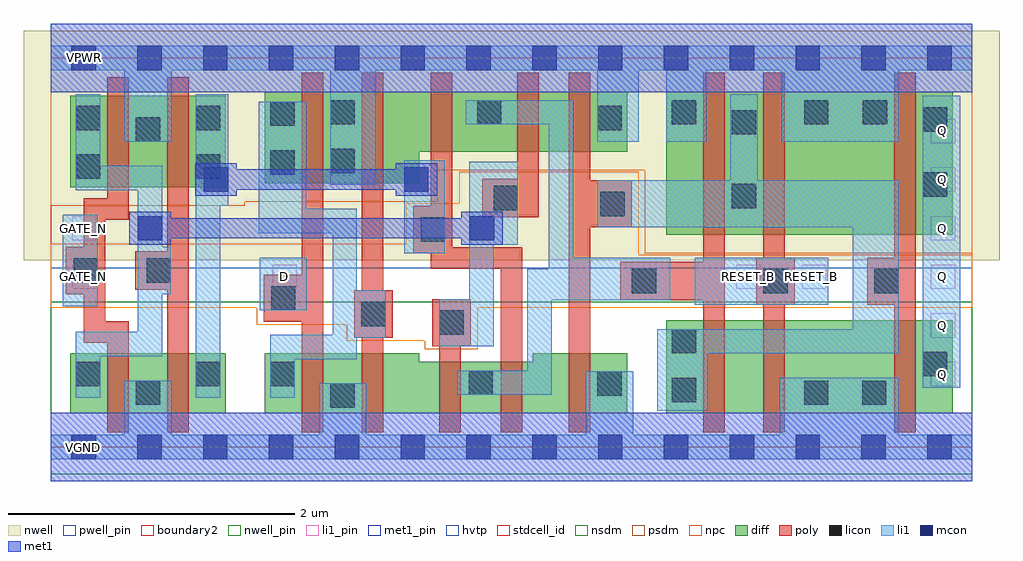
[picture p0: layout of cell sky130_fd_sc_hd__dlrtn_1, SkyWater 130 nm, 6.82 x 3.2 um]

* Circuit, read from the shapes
.subckt sky130_fd_sc_hd__dlrtn_1 D GATE_N Q RESET_B VGND VNB VPB VPWR
XM1 VGND GATE_N n1 VNB sky130_fd_pr__nfet_01v8 w=0.42 l=0.15
XM2 n2 n1 VGND VNB sky130_fd_pr__nfet_01v8 w=0.42 l=0.15
XM3 VGND D n3 VNB sky130_fd_pr__nfet_01v8 w=0.42 l=0.15
XM4 n4 n3 VGND VNB sky130_fd_pr__nfet_01v8 w=0.42 l=0.15
XM5 n5 n1 n4 VNB sky130_fd_pr__nfet_01v8 w=0.36 l=0.15
XM6 n6 n2 n5 VNB sky130_fd_pr__nfet_01v8 w=0.36 l=0.15
XM7 VGND n7 n6 VNB sky130_fd_pr__nfet_01v8 w=0.42 l=0.15
XM8 n8 n5 n7 VNB sky130_fd_pr__nfet_01v8 w=0.65 l=0.15
XM9 VGND RESET_B n8 VNB sky130_fd_pr__nfet_01v8 w=0.65 l=0.15
XM10 Q n7 VGND VNB sky130_fd_pr__nfet_01v8 w=0.65 l=0.15
XM11 VPWR GATE_N n1 VPB sky130_fd_pr__pfet_01v8_hvt w=0.64 l=0.15
XM12 n2 n1 VPWR VPB sky130_fd_pr__pfet_01v8_hvt w=0.64 l=0.15
XM13 VPWR D n3 VPB sky130_fd_pr__pfet_01v8_hvt w=0.64 l=0.15
XM14 n9 n3 VPWR VPB sky130_fd_pr__pfet_01v8_hvt w=0.64 l=0.15
XM15 n5 n2 n9 VPB sky130_fd_pr__pfet_01v8_hvt w=0.42 l=0.15
XM16 n10 n1 n5 VPB sky130_fd_pr__pfet_01v8_hvt w=0.42 l=0.15
XM17 VPWR n7 n10 VPB sky130_fd_pr__pfet_01v8_hvt w=0.42 l=0.15
XM18 n7 n5 VPWR VPB sky130_fd_pr__pfet_01v8_hvt w=1 l=0.15
XM19 VPWR RESET_B n7 VPB sky130_fd_pr__pfet_01v8_hvt w=1 l=0.15
XM20 Q n7 VPWR VPB sky130_fd_pr__pfet_01v8_hvt w=1 l=0.15
.ends

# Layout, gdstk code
import gdstk
lib = gdstk.Library(unit=1e-6, precision=1e-09)
def R(c, l, rs):  # rectangles x0, y0, x1, y1
    for r in rs: c.add(gdstk.rectangle(r[:2], r[2:], *l))
def A(c, l, x, y, w, h, nx, ny, dx, dy):  # array of equal rectangles
    R(c, l, [(x+i*dx, y+j*dy, x+i*dx+w, y+j*dy+h) for i in range(nx) for j in range(ny)])
def P(c, l, *ps):  # polygons
    for p in ps: c.add(gdstk.Polygon(p, *l))
nwell_pin = (64, 16)
nwell = (64, 20)
diff = (65, 20)
poly = (66, 20)
licon = (66, 44)
li1_pin = (67, 16)
li1 = (67, 20)
mcon = (67, 44)
met1_pin = (68, 16)
met1 = (68, 20)
hvtp = (78, 44)
stdcell_id = (81, 4)
nsdm = (93, 44)
psdm = (94, 20)
npc = (95, 20)
pwell_pin = (122, 16)
boundary2 = (236, 0)

sky130_fd_sc_hd__dlrtn_1 = lib.new_cell('sky130_fd_sc_hd__dlrtn_1')
R(sky130_fd_sc_hd__dlrtn_1, nwell_pin, [(0.15,2.635,0.32,2.805), (0.15,2.635,0.32,2.805), (0.15,2.635,0.32,2.805)])
R(sky130_fd_sc_hd__dlrtn_1, nwell, [(-0.19,1.305,6.63,2.91)])
R(sky130_fd_sc_hd__dlrtn_1, diff, [(0.135,0.235,1.225,0.655), (4.3,0.235,6.305,0.885), (4.3,1.485,6.305,2.485), (0.135,1.815,1.225,2.455)])
P(sky130_fd_sc_hd__dlrtn_1, diff, [(4.03,0.655),(3.37,0.655),(3.37,0.595),(2.575,0.595),(2.575,0.655),(1.495,0.655),(1.495,0.235),(4.03,0.235)],
  [(4.03,2.485),(1.495,2.485),(1.495,1.845),(2.575,1.845),(2.575,2.065),(4.03,2.065)])
P(sky130_fd_sc_hd__dlrtn_1, poly, [(1.905,2.615),(1.755,2.615),(1.755,1.205),(1.49,1.205),(1.49,0.875),(1.755,0.875),(1.755,0.105),(1.905,0.105)],
  [(0.545,0.88),(0.38,0.88),(0.38,1.59),(0.545,1.59),(0.545,2.585),(0.395,2.585),(0.395,1.74),(0.23,1.74),(0.23,1.4),(0.105,1.4),(0.105,1.07),(0.23,1.07),(0.23,0.73),(0.395,0.73),(0.395,0.105),(0.545,0.105)],
  [(2.935,1.035),(2.665,1.035),(2.665,0.705),(2.715,0.705),(2.715,0.105),(2.865,0.105),(2.865,0.705),(2.935,0.705)],
  [(0.965,2.585),(0.815,2.585),(0.815,1.37),(0.59,1.37),(0.59,1.1),(0.815,1.1),(0.815,0.105),(0.965,0.105)],
  [(2.39,1.095),(2.325,1.095),(2.325,2.615),(2.175,2.615),(2.175,1.095),(2.12,1.095),(2.12,0.765),(2.175,0.765),(2.175,0.105),(2.325,0.105),(2.325,0.765),(2.39,0.765)],
  [(3.295,1.395),(2.805,1.395),(2.805,2.615),(2.655,2.615),(2.655,1.685),(2.535,1.685),(2.535,1.355),(2.655,1.355),(2.655,1.245),(3.145,1.245),(3.145,0.105),(3.295,0.105)],
  [(3.41,2.615),(3.26,2.615),(3.26,1.875),(3.015,1.875),(3.015,1.605),(3.41,1.605)],
  [(4.06,1.865),(3.77,1.865),(3.77,2.615),(3.62,2.615),(3.62,0.105),(3.77,0.105),(3.77,1.535),(4.06,1.535)],
  [(4.71,2.615),(4.56,2.615),(4.56,1.295),(3.98,1.295),(3.98,1.025),(4.56,1.025),(4.56,0.105),(4.71,0.105)],
  [(5.2,1.325),(5.13,1.325),(5.13,2.615),(4.98,2.615),(4.98,1.325),(4.93,1.325),(4.93,0.995),(4.98,0.995),(4.98,0.105),(5.13,0.105),(5.13,0.995),(5.2,0.995)],
  [(6.045,2.615),(5.895,2.615),(5.895,1.325),(5.705,1.325),(5.705,0.995),(5.895,0.995),(5.895,0.105),(6.045,0.105)])
R(sky130_fd_sc_hd__dlrtn_1, licon, [(1.955,0.275,2.125,0.445), (0.595,0.295,0.765,0.465), (5.265,0.295,5.435,0.465), (5.67,0.295,5.84,0.465), (4.34,0.315,4.51,0.485), (3.82,0.36,3.99,0.53), (2.92,0.365,3.09,0.535), (0.175,0.425,0.345,0.595), (1.015,0.425,1.185,0.595), (1.535,0.425,1.705,0.595), (6.095,0.495,6.265,0.665), (4.34,0.655,4.51,0.825), (2.715,0.785,2.885,0.955), (2.17,0.845,2.34,1.015), (1.54,0.955,1.71,1.125), (4.06,1.075,4.23,1.245), (4.98,1.075,5.15,1.245), (5.755,1.075,5.925,1.245), (0.16,1.15,0.33,1.32), (0.67,1.15,0.84,1.32), (2.585,1.435,2.755,1.605), (3.84,1.615,4.01,1.785), (3.095,1.655,3.265,1.825), (4.76,1.67,4.93,1.84), (6.095,1.75,6.265,1.92), (0.175,1.875,0.345,2.045), (1.015,1.875,1.185,2.045), (1.535,1.905,1.705,2.075), (1.955,1.915,2.125,2.085), (0.595,2.135,0.765,2.305), (4.76,2.185,4.93,2.355), (6.095,2.205,6.265,2.375), (0.175,2.215,0.345,2.385), (1.015,2.215,1.185,2.385), (3.82,2.215,3.99,2.385), (1.535,2.245,1.705,2.415), (1.955,2.255,2.125,2.425), (2.98,2.255,3.15,2.425), (4.34,2.255,4.51,2.425), (5.265,2.255,5.435,2.425), (5.675,2.255,5.845,2.425)])
A(sky130_fd_sc_hd__dlrtn_1, li1_pin, 6.15, 0.425, 0.17, 0.17, 1, 6, 0, 0.34)
R(sky130_fd_sc_hd__dlrtn_1, li1_pin, [(0.15,1.105,0.32,1.275), (1.55,1.105,1.72,1.275), (4.79,1.105,4.96,1.275), (5.25,1.105,5.42,1.275), (0.15,1.445,0.32,1.615)])
R(sky130_fd_sc_hd__dlrtn_1, li1, [(6.095,0.415,6.355,2.455), (1.46,0.955,1.79,1.325), (0.085,0.985,0.33,1.625), (4.5,0.995,5.435,1.325), (2.47,1.355,2.755,2.005)])
P(sky130_fd_sc_hd__dlrtn_1, li1, [(6.44,2.805),(0,2.805),(0,2.635),(0.515,2.635),(0.515,2.135),(0.845,2.135),(0.845,2.635),(1.955,2.635),(1.955,1.835),(2.27,1.835),(2.27,2.635),(3.82,2.635),(3.82,2.135),(4.11,2.135),(4.11,2.635),(4.3,2.635),(4.3,2.135),(4.58,2.135),(4.58,2.635),(5.11,2.635),(5.11,2.135),(5.925,2.135),(5.925,2.635),(6.44,2.635)],
  [(5.925,1.865),(4.94,1.865),(4.94,2.465),(4.75,2.465),(4.75,1.865),(3.82,1.865),(3.82,1.535),(5.605,1.535),(5.605,0.825),(4.24,0.825),(4.24,0.255),(4.59,0.255),(4.59,0.655),(5.925,0.655)],
  [(4.33,1.325),(3.65,1.325),(3.65,2.425),(2.9,2.425),(2.9,2.255),(3.48,2.255),(3.48,1.245),(3.33,1.245),(3.33,0.535),(2.84,0.535),(2.84,0.365),(3.5,0.365),(3.5,1.025),(4.33,1.025)],
  [(3.265,1.995),(2.925,1.995),(2.925,1.035),(2.715,1.035),(2.715,0.705),(3.095,0.705),(3.095,1.415),(3.265,1.415)],
  [(2.34,1.095),(2.14,1.095),(2.14,1.665),(1.785,1.665),(1.785,2.415),(1.455,2.415),(1.455,1.495),(1.97,1.495),(1.97,0.785),(1.535,0.785),(1.535,0.345),(1.705,0.345),(1.705,0.615),(2.14,0.615),(2.14,0.765),(2.34,0.765)],
  [(0.84,1.4),(0.78,1.4),(0.78,1.965),(0.345,1.965),(0.345,2.465),(0.175,2.465),(0.175,1.795),(0.61,1.795),(0.61,0.805),(0.175,0.805),(0.175,0.345),(0.345,0.345),(0.345,0.635),(0.78,0.635),(0.78,1.07),(0.84,1.07)],
  [(1.24,2.465),(1.015,2.465),(1.015,0.345),(1.185,0.345),(1.185,1.685),(1.24,1.685)],
  [(6.44,0.085),(5.925,0.085),(5.925,0.485),(5.095,0.485),(5.095,0.085),(4.07,0.085),(4.07,0.53),(3.74,0.53),(3.74,0.085),(2.205,0.085),(2.205,0.445),(1.875,0.445),(1.875,0.085),(0.845,0.085),(0.845,0.465),(0.515,0.465),(0.515,0.085),(0,0.085),(0,-0.085),(6.44,-0.085)])
A(sky130_fd_sc_hd__dlrtn_1, mcon, 0.145, -0.085, 0.17, 0.17, 14, 2, 0.46, 2.72)
R(sky130_fd_sc_hd__dlrtn_1, mcon, [(0.61,1.445,0.78,1.615), (2.93,1.445,3.1,1.615), (1.07,1.785,1.24,1.955), (2.47,1.785,2.64,1.955)])
R(sky130_fd_sc_hd__dlrtn_1, met1_pin, [(0.15,-0.085,0.32,0.085), (0.15,-0.085,0.32,0.085), (0.15,2.635,0.32,2.805), (0.15,2.635,0.32,2.805)])
R(sky130_fd_sc_hd__dlrtn_1, met1, [(0,-0.24,6.44,0.24), (0,2.48,6.44,2.96)])
P(sky130_fd_sc_hd__dlrtn_1, met1, [(2.7,1.985),(2.41,1.985),(2.41,1.94),(1.3,1.94),(1.3,1.985),(1.01,1.985),(1.01,1.755),(1.3,1.755),(1.3,1.8),(2.41,1.8),(2.41,1.755),(2.7,1.755)],
  [(3.16,1.645),(2.87,1.645),(2.87,1.6),(0.84,1.6),(0.84,1.645),(0.55,1.645),(0.55,1.415),(0.84,1.415),(0.84,1.46),(2.87,1.46),(2.87,1.415),(3.16,1.415)])
R(sky130_fd_sc_hd__dlrtn_1, hvtp, [(0,1.25,6.44,2.72)])
R(sky130_fd_sc_hd__dlrtn_1, stdcell_id, [(0,0,6.44,2.72)])
R(sky130_fd_sc_hd__dlrtn_1, nsdm, [(0,-0.19,6.44,1.015)])
P(sky130_fd_sc_hd__dlrtn_1, psdm, [(6.44,2.91),(0,2.91),(0,1.685),(1.355,1.685),(1.355,1.715),(2.705,1.715),(2.705,1.935),(4.15,1.935),(4.15,1.355),(6.44,1.355)])
P(sky130_fd_sc_hd__dlrtn_1, npc, [(6.44,1.345),(4.11,1.345),(4.11,1.925),(2.855,1.925),(2.855,1.705),(2.485,1.705),(2.485,1.42),(0,1.42),(0,0.975),(1.44,0.975),(1.44,0.855),(2.07,0.855),(2.07,0.745),(2.615,0.745),(2.615,0.685),(2.985,0.685),(2.985,0.975),(6.44,0.975)])
R(sky130_fd_sc_hd__dlrtn_1, pwell_pin, [(0.15,-0.085,0.32,0.085), (0.15,-0.085,0.32,0.085), (0.15,-0.085,0.32,0.085)])
R(sky130_fd_sc_hd__dlrtn_1, boundary2, [(0,0,6.44,2.72)])
sky130_fd_sc_hd__dlrtn_1.add(gdstk.Label('RESET_B', (4.875,1.19), layer=67, texttype=5))
sky130_fd_sc_hd__dlrtn_1.add(gdstk.Label('RESET_B', (5.315,1.19), layer=67, texttype=5))
sky130_fd_sc_hd__dlrtn_1.add(gdstk.Label('Q', (6.235,0.85), layer=67, texttype=5))
sky130_fd_sc_hd__dlrtn_1.add(gdstk.Label('Q', (6.235,1.19), layer=67, texttype=5))
sky130_fd_sc_hd__dlrtn_1.add(gdstk.Label('D', (1.635,1.19), layer=67, texttype=5))
sky130_fd_sc_hd__dlrtn_1.add(gdstk.Label('GATE_N', (0.23,1.19), layer=67, texttype=5))
sky130_fd_sc_hd__dlrtn_1.add(gdstk.Label('Q', (6.235,1.87), layer=67, texttype=5))
sky130_fd_sc_hd__dlrtn_1.add(gdstk.Label('GATE_N', (0.23,1.53), layer=67, texttype=5))
sky130_fd_sc_hd__dlrtn_1.add(gdstk.Label('Q', (6.235,2.21), layer=67, texttype=5))
sky130_fd_sc_hd__dlrtn_1.add(gdstk.Label('Q', (6.235,0.51), layer=67, texttype=5))
sky130_fd_sc_hd__dlrtn_1.add(gdstk.Label('Q', (6.235,1.53), layer=67, texttype=5))
sky130_fd_sc_hd__dlrtn_1.add(gdstk.Label('VGND', (0.23,0), layer=68, texttype=5))
sky130_fd_sc_hd__dlrtn_1.add(gdstk.Label('VPWR', (0.235,2.72), layer=68, texttype=5))
sky130_fd_sc_hd__dlrtn_1.add(gdstk.Label('VGND', (0.23,0), layer=68, texttype=5))
sky130_fd_sc_hd__dlrtn_1.add(gdstk.Label('VPWR', (0.235,2.72), layer=68, texttype=5))
sky130_fd_sc_hd__dlrtn_1.add(gdstk.Label('VPB', (0.235,2.72), layer=64, texttype=5))
sky130_fd_sc_hd__dlrtn_1.add(gdstk.Label('VPB', (0.235,2.72), layer=64, texttype=5))
sky130_fd_sc_hd__dlrtn_1.add(gdstk.Label('VPB', (0.235,2.72), layer=64, texttype=5))
sky130_fd_sc_hd__dlrtn_1.add(gdstk.Label('VNB', (0.235,0), layer=64, texttype=59))
sky130_fd_sc_hd__dlrtn_1.add(gdstk.Label('VNB', (0.235,0), layer=64, texttype=59))
sky130_fd_sc_hd__dlrtn_1.add(gdstk.Label('VNB', (0.235,0), layer=64, texttype=59))
sky130_fd_sc_hd__dlrtn_1.add(gdstk.Label('dlrtn_1', (0,0), layer=83, texttype=44))

lib.write_gds('sky130_fd_sc_hd__dlrtn_1.gds')
